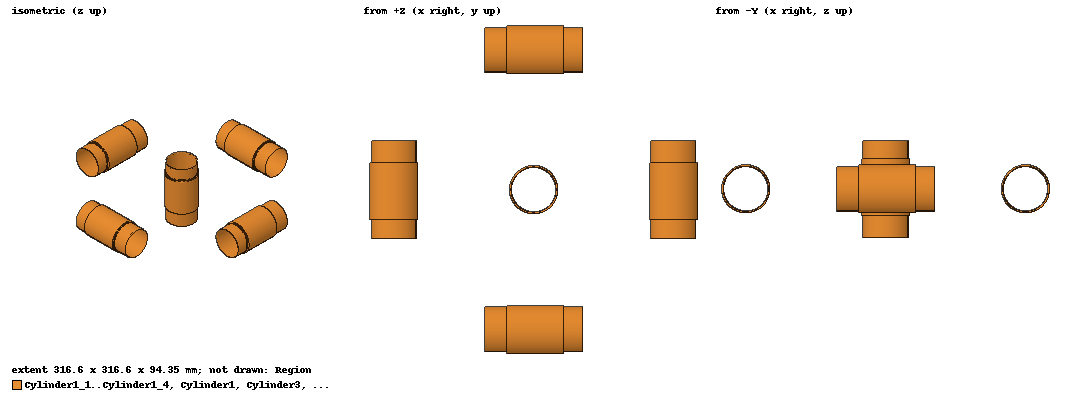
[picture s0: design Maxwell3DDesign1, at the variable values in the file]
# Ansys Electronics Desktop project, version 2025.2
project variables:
  $d_prim = 1.45mm
  $d_sec = 0.51mm
  $r_cilindro = (42.5/2) mm
  $N_pri = 38
  $N_sec = 185
  $N_pri_meio = 10
  $N_sec_meio = 10
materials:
  vacuum: permittivity=1
  copper: permeability=0.999991 conductivity=58000000
  air: permittivity=1.0006 permeability=1.0000004

design Maxwell3DDesign1 (Maxwell 3D, AC Magnetic, model units mm)
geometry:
  Cylinder1 [copper] = cylinder(axis=Z, base_centre=(0mm, 0mm, 0mm), radius=$r_cilindro+$d_sec, height=94.35mm)
  Cylinder2 = cylinder(axis=Z, base_centre=(0mm, 0mm, 0mm), radius=$r_cilindro, height=185*$d_sec)
  Cylinder1.subtract(Cylinder2)
  Cylinder1.move(0mm, 0mm, -47.5mm)
  Cylinder3 [copper] = cylinder(axis=Z, base_centre=(0mm, 0mm, 0mm), radius=$r_cilindro+$d_sec+$d_prim+0.1mm, height=$N_pri*$d_prim)
  Cylinder4 = cylinder(axis=Z, base_centre=(0mm, 0mm, 0mm), radius=$r_cilindro+$d_sec, height=$N_pri*$d_prim)
  Cylinder3.subtract(Cylinder4)
  Cylinder3.move(0mm, 0mm, -26mm)
  Cylinder3_Section1 = Cylinder3.section(plane=ZX)
  Cylinder3_Section1_Separate1 = Cylinder3_Section1.separate_bodies()
  Cylinder3_Section1.delete()
  Cylinder1_Section1 = Cylinder1.section(plane=ZX)
  Cylinder1_Section1_Separate1 = Cylinder1_Section1.separate_bodies()
  Cylinder1_Section1.delete()
  Cylinder1_1 [copper] = Cylinder1.duplicate_around_axis(axis=X, angle=90deg, total=2)
  Cylinder3_1 [copper] = Cylinder3.duplicate_around_axis(axis=X, angle=90deg, total=2)
  Cylinder3_Section1_Separate1_1 = Cylinder3_Section1_Separate1.duplicate_around_axis(axis=X, angle=90deg, total=2)
  Cylinder1_Section1_Separate1_1 = Cylinder1_Section1_Separate1.duplicate_around_axis(axis=X, angle=90deg, total=2)
  [Cylinder3_1, Cylinder1_1, Cylinder1_Section1_Separate1_1, Cylinder3_Section1_Separate1_1].move(-135mm, 0mm, 0mm)
  Cylinder5 = cylinder(axis=Z, base_centre=(0mm, 0mm, 0mm), radius=$r_cilindro+$d_sec, height=94.35mm)
  Cylinder6 = cylinder(axis=Z, base_centre=(0mm, 0mm, 0mm), radius=$r_cilindro, height=185*$d_sec)
  Cylinder5.subtract(Cylinder6)
  Cylinder5.move(0mm, 0mm, -47.5mm)
  Cylinder1_2 [copper] = Cylinder5.duplicate_around_axis(axis=X, angle=90deg, total=2)
  Cylinder5.delete()
  Cylinder1_2.move(-135mm, 0mm, 0mm)
  Cylinder7 = cylinder(axis=Z, base_centre=(0mm, 0mm, 0mm), radius=$r_cilindro+$d_sec+$d_prim+0.1mm, height=$N_pri*$d_prim)
  Cylinder8 = cylinder(axis=Z, base_centre=(0mm, 0mm, 0mm), radius=$r_cilindro+$d_sec, height=$N_pri*$d_prim)
  Cylinder7.subtract(Cylinder8)
  Cylinder7.move(0mm, 0mm, -26mm)
  Cylinder3_2 [copper] = Cylinder7.duplicate_around_axis(axis=X, angle=90deg, total=2)
  Cylinder7.delete()
  Cylinder3_2.move(-135mm, 0mm, 0mm)
  [Cylinder1_2, Cylinder3_2].move(270mm, 0mm, 0mm)
  Cylinder1_3 [copper] = Cylinder1.duplicate_around_axis(axis=Y, angle=90deg, total=2)
  Cylinder3_3 [copper] = Cylinder3.duplicate_around_axis(axis=Y, angle=90deg, total=2)
  [Cylinder3_3, Cylinder1_3].move(0mm, 0mm, 135mm)
  [Cylinder1_3, Cylinder3_3].move(0mm, 135mm, 0mm)
  [Cylinder1_3, Cylinder3_3].move(0mm, 0mm, -135mm)
  Cylinder3_3_Section1 = Cylinder3_3.section(plane=XY)
  Cylinder1_3_Section1 = Cylinder1_3.section(plane=XY)
  Cylinder9 = cylinder(axis=Z, base_centre=(0mm, 0mm, 0mm), radius=$r_cilindro+$d_sec, height=94.35mm)
  Cylinder10 = cylinder(axis=Z, base_centre=(0mm, 0mm, 0mm), radius=$r_cilindro, height=185*$d_sec)
  Cylinder9.subtract(Cylinder10)
  Cylinder9.move(0mm, 0mm, -47.5mm)
  Cylinder1_4 [copper] = Cylinder9.duplicate_around_axis(axis=Y, angle=90deg, total=2)
  Cylinder9.delete()
  Cylinder1_4.move(0mm, 0mm, 135mm)
  Cylinder1_4.move(0mm, 135mm, 0mm)
  Cylinder1_4.move(0mm, 0mm, -135mm)
  Cylinder1_3_Section2 = Cylinder1_4.section(plane=XY)
  Cylinder11 = cylinder(axis=Z, base_centre=(0mm, 0mm, 0mm), radius=$r_cilindro+$d_sec+$d_prim+0.1mm, height=$N_pri*$d_prim)
  Cylinder12 = cylinder(axis=Z, base_centre=(0mm, 0mm, 0mm), radius=$r_cilindro+$d_sec, height=$N_pri*$d_prim)
  Cylinder11.subtract(Cylinder12)
  Cylinder11.move(0mm, 0mm, -26mm)
  Cylinder3_4 [copper] = Cylinder11.duplicate_around_axis(axis=Y, angle=90deg, total=2)
  Cylinder11.delete()
  Cylinder3_4.move(0mm, 0mm, 135mm)
  Cylinder3_4.move(0mm, 135mm, 0mm)
  Cylinder3_4.move(0mm, 0mm, -135mm)
  Cylinder3_3_Section2 = Cylinder3_4.section(plane=XY)
  [Cylinder1_4, Cylinder3_4, Cylinder3_3_Section2, Cylinder1_3_Section2].move(0mm, -270mm, 0mm)
  Cylinder1_3_Section1.separate_bodies()
  Cylinder3_3_Section1.separate_bodies()
  Cylinder3_3_Section2_Separate1 = Cylinder3_3_Section2.separate_bodies()
  Cylinder3_3_Section2.delete()
  Cylinder1_3_Section2_Separate1 = Cylinder1_3_Section2.separate_bodies()
  Cylinder1_3_Section2.delete()
  Cylinder1_2_Section1 = Cylinder1_2.section(plane=XY)
  Cylinder3_2_Section1 = Cylinder3_2.section(plane=XY)
  Cylinder1_2_Section1.separate_bodies()
  Cylinder3_2_Section1.separate_bodies()
  Cylinder1_Section2 = Cylinder1.section(plane=ZX)
  Cylinder3_Section2 = Cylinder3.section(plane=ZX)
  Cylinder1_Section2_Separate1 = Cylinder1_Section2.separate_bodies()
  Cylinder1_Section2.delete()
  Cylinder3_Section2_Separate1 = Cylinder3_Section2.separate_bodies()
  Cylinder3_Section2.delete()
  Region [air] = region(percentage_offset=300 on all sides)
  point Point1 = ((270/2) mm, 0mm, 0mm)
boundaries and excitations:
  CoilTerminal1: Coil Terminal Objects=Cylinder3_3_Section1 Conductor_number=$N_pri Winding=Winding1 Point_out_of_terminal=false
  CoilTerminal2: Coil Terminal Objects=Cylinder1_3_Section1 Conductor_number=$N_sec Winding=Winding2 Point_out_of_terminal=false
  CoilTerminal3: Coil Terminal Objects=Cylinder3_2_Section1 Conductor_number=$N_pri Winding=Winding1 Point_out_of_terminal=false
  CoilTerminal4: Coil Terminal Objects=Cylinder1_2_Section1 Conductor_number=$N_sec Winding=Winding2 Point_out_of_terminal=false
  CoilTerminal5: Coil Terminal Objects=Cylinder3_3_Section2_Separate1 Conductor_number=$N_pri Winding=Winding1 Point_out_of_terminal=false
  CoilTerminal6: Coil Terminal Objects=Cylinder1_3_Section2_Separate1 Conductor_number=$N_sec Winding=Winding2 Point_out_of_terminal=false
  CoilTerminal7: Coil Terminal Objects=Cylinder3_Section1_Separate1_1 Conductor_number=$N_pri Winding=Winding1 Point_out_of_terminal=false
  CoilTerminal8: Coil Terminal Objects=Cylinder1_Section1_Separate1_1 Conductor_number=$N_sec Winding=Winding2 Point_out_of_terminal=false
  CoilTerminal9: Coil Terminal Objects=Cylinder3_Section2_Separate1 Conductor_number=$N_pri_meio Winding=Winding3 Point_out_of_terminal=true
  CoilTerminal10: Coil Terminal Objects=Cylinder1_Section1_Separate1 Conductor_number=$N_sec_meio Winding=Winding4 Point_out_of_terminal=true
  Winding1: Winding Group Type=Current IsSolid=false Current=0.1A ParallelBranchesNum=1 Phase=0deg
  Winding2: Winding Group Type=Current IsSolid=false Current=0mA ParallelBranchesNum=1 Phase=0deg
  Winding3: Winding Group Type=Current IsSolid=false Current=0.1A ParallelBranchesNum=1 Phase=0deg
  Winding4: Winding Group Type=Current IsSolid=false Current=0mA ParallelBranchesNum=1 Phase=0deg
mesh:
  Length1: LengthBased Objects=[Cylinder1, Cylinder3, Cylinder3_Section1_Separate1, Cylinder1_Section1_Separate1, Cylinder1_1, Cylinder3_1, Cylinder3_Section1_Separate1_1, Cylinder1_Section1_Separate1_1, Cylinder1_2, Cylinder3_2, Cylinder1_3, Cylinder3_3, Cylinder3_3_Section1, Cylinder1_3_Section1, Cylinder1_4, Cylinder3_4, Cylinder3_3_Section2_Separate1, Cylinder1_3_Section2_Separate1, Cylinder1_2_Section1, Cylinder3_2_Section1, Cylinder1_Section2_Separate1, Cylinder3_Section2_Separate1] MaxLength=18.87mm
  initial mesh: GlobalSurfApproximation{CurvedSurfaceApproxChoice=UseSlider SliderMeshSettings=6} GlobalCurvilinear{Apply}
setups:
  Setup1: AC Magnetic MaximumPasses=10 MinimumPasses=2 MinimumConvergedPasses=1 PercentRefinement=30 PercentError=1 ConstantDelta=0s NonLinearResidual=0.0001 Frequency=60Hz LossAdaptiveCtrl=0.5
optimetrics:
  ParametricSetup1: Parametric Sim._Setups=[Setup1]
    sweep $N_pri_meio: LIN 5 50 5
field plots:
  Mag_B1: B in Region on Setup1 : LastAdaptive at Freq=60Hz Phase=0deg
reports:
  Calculator Expressions Table1: Mag_B vs $N_pri_meio on Setup1 : LastAdaptive [Phase=0deg Freq=all]
